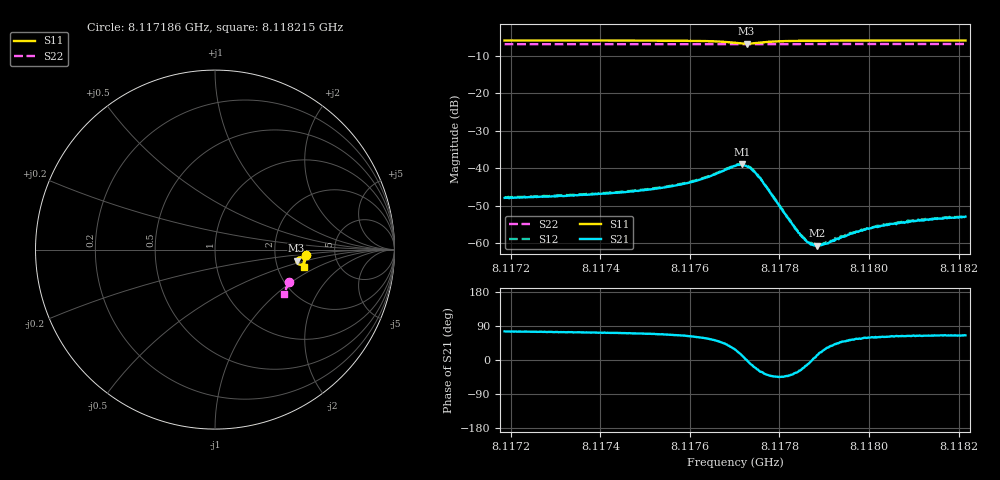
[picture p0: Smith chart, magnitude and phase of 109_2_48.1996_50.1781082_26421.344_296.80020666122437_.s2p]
#  HZ  S  RI  R  50.00
! Rohde & Schwarz Vector Network Analyzer
! Rohde-Schwarz,ZNB20-2Port,1311601062101988,3.16
! Created: UTC 3/20/2024, 11:40:55 AM
! freq[Hz]  re:S11  im:S11  re:S21  im:S21  re:S12  im:S12  re:S22  im:S22
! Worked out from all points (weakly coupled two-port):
!   401 points, 8.117186 GHz to 8.118215 GHz, reference 50 ohm
!   highest |S21| = -38.98 dB at 8.117716 GHz (marker M1); lowest = -60.6 dB at 8.117883 GHz (marker M2)
!   lowest |S11| = -6.8 dB at 8.117727 GHz (marker M3), VSWR 2.69, Z = 131 - j20.2 ohm
!   |S11| at or under -10 dB: nowhere
!   |S22| runs from -6.9 to -6.9 dB; largest |S21 - S12| = 0.00042
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8.1171862e9  0.5048 -0.0317  0.001 0.0039  0.0011 0.00398  0.4129 -0.1818
8.1173586e9  0.5032 -0.0462  0.00131 0.00422  0.00136 0.00426  0.4083 -0.193
8.1174461e9  0.5017 -0.0542  0.00155 0.00452  0.00161 0.00462  0.4059 -0.1987
8.117531e9  0.4993 -0.0632  0.00202 0.00506  0.00214 0.00512  0.4035 -0.2041
8.1176133e9  0.4937 -0.0744  0.00328 0.00593  0.00342 0.00605  0.4007 -0.2095
8.1176468e9  0.4877 -0.08  0.00458 0.00645  0.00471 0.00655  0.3994 -0.2118
8.1177008e9  0.4635 -0.0806  0.0095 0.00501  0.00986 0.00499  0.3968 -0.2148
8.1177162e9  0.4553 -0.0705  0.011 0.00231  0.0111 0.00216  0.396 -0.215
8.1177265e9  0.4543 -0.0608  0.0107 6.24e-05  0.011 -5.86e-05  0.3959 -0.2152
8.1177394e9  0.4594 -0.0495  0.00917 -0.00225  0.00939 -0.00254  0.3958 -0.2156
8.1177574e9  0.4722 -0.0428  0.00632 -0.00383  0.00636 -0.00379  0.3959 -0.2165
8.117832e9  0.4958 -0.057  0.00138 -0.001  0.00139 -0.00102  0.3946 -0.2218
8.1178474e9  0.4966 -0.0601  0.00115 -0.000588  0.00113 -0.000593  0.3942 -0.2228
8.1178629e9  0.4975 -0.0628  0.00101 -0.000202  0.00105 -0.000248  0.3937 -0.224
8.1178732e9  0.4978 -0.0643  0.000982 -8.68e-06  0.000999 -1.3e-05  0.3934 -0.2247
8.1178835e9  0.4982 -0.0659  0.000912 0.000196  0.000944 0.000175  0.393 -0.2254
8.1179169e9  0.4985 -0.0705  0.000849 0.000644  0.000825 0.000682  0.392 -0.2275
8.1179298e9  0.4985 -0.072  0.000827 0.00081  0.000839 0.000833  0.3915 -0.2283
8.1179787e9  0.4982 -0.0775  0.000801 0.00122  0.000834 0.00124  0.39 -0.2313
8.1180456e9  0.4977 -0.0841  0.000846 0.00156  0.000885 0.0016  0.3876 -0.2356
8.1181227e9  0.4966 -0.091  0.000887 0.00183  0.000878 0.00187  0.385 -0.2403
8.1182154e9  0.4952 -0.0986  0.000956 0.00206  0.000959 0.00209  0.3817 -0.246
